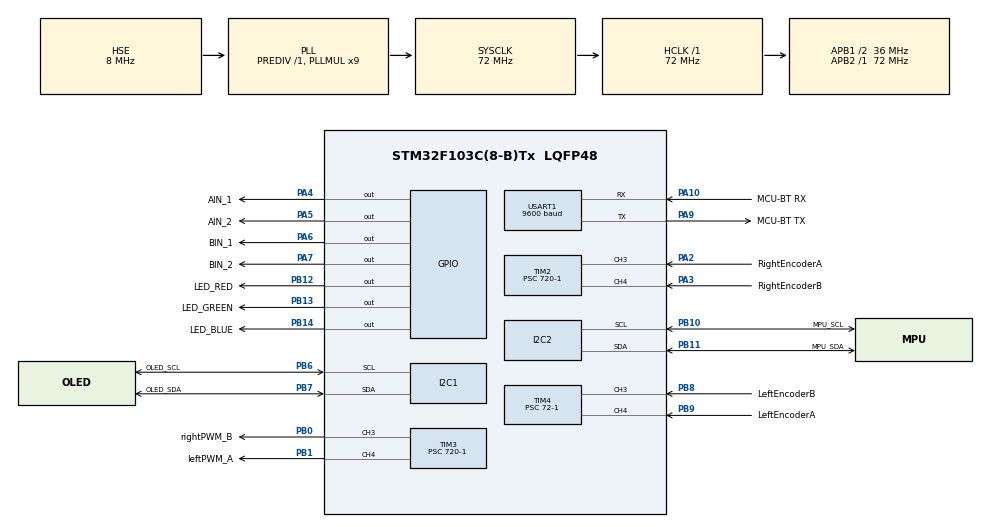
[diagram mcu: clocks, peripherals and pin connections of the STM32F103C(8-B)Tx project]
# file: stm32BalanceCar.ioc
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Dma.Request0=USART1_RX
Dma.Request1=USART1_TX
Dma.USART1_RX.0.Direction=DMA_PERIPH_TO_MEMORY
Dma.USART1_RX.0.Instance=DMA1_Channel5
Dma.USART1_RX.0.MemDataAlignment=DMA_MDATAALIGN_BYTE
Dma.USART1_RX.0.MemInc=DMA_MINC_ENABLE
Dma.USART1_RX.0.Mode=DMA_NORMAL
Dma.USART1_RX.0.PeriphDataAlignment=DMA_PDATAALIGN_BYTE
Dma.USART1_RX.0.PeriphInc=DMA_PINC_DISABLE
Dma.USART1_RX.0.Priority=DMA_PRIORITY_LOW
Dma.USART1_TX.1.Direction=DMA_MEMORY_TO_PERIPH
Dma.USART1_TX.1.Instance=DMA1_Channel4
Dma.USART1_TX.1.MemDataAlignment=DMA_MDATAALIGN_BYTE
Dma.USART1_TX.1.MemInc=DMA_MINC_ENABLE
Dma.USART1_TX.1.Mode=DMA_NORMAL
Dma.USART1_TX.1.PeriphDataAlignment=DMA_PDATAALIGN_BYTE
Dma.USART1_TX.1.PeriphInc=DMA_PINC_DISABLE
Dma.USART1_TX.1.Priority=DMA_PRIORITY_LOW
I2C1.I2C_Mode=I2C_Fast
Mcu.Family=STM32F1
Mcu.Name=STM32F103C(8-B)Tx
Mcu.Package=LQFP48
NVIC.DMA1_Channel4_IRQn=true\:0\:0\:false\:false\:true\:false\:true\:true
NVIC.DMA1_Channel5_IRQn=true\:0\:0\:false\:false\:true\:false\:true\:true
NVIC.PriorityGroup=NVIC_PRIORITYGROUP_4
NVIC.TIM1_BRK_IRQn=true\:0\:0\:false\:false\:true\:true\:true\:true
NVIC.TIM1_CC_IRQn=true\:0\:0\:false\:false\:true\:true\:true\:true
NVIC.TIM1_TRG_COM_IRQn=true\:0\:0\:false\:false\:true\:true\:true\:true
NVIC.TIM1_UP_IRQn=true\:0\:0\:false\:false\:true\:true\:true\:true
NVIC.TIM2_IRQn=true\:0\:0\:false\:false\:true\:true\:true\:true
NVIC.TIM3_IRQn=true\:0\:0\:true\:false\:true\:true\:true\:true
NVIC.TIM4_IRQn=true\:0\:0\:false\:false\:true\:true\:true\:true
NVIC.USART1_IRQn=true\:0\:0\:false\:false\:true\:true\:true\:true
PA10.GPIO_Label=MCU-BT RX
PA10.Mode=Asynchronous
PA10.Signal=USART1_RX
PA13.Mode=Serial_Wire
PA13.Signal=SYS_JTMS-SWDIO
PA14.Mode=Serial_Wire
PA14.Signal=SYS_JTCK-SWCLK
PA2.GPIO_Label=RightEncoderA
PA2.GPIO_PuPd=GPIO_PULLDOWN
PA2.Signal=S_TIM2_CH3
PA3.GPIO_Label=RightEncoderB
PA3.GPIO_PuPd=GPIO_PULLDOWN
PA3.Signal=S_TIM2_CH4
PA4.GPIO_Label=AIN_1
PA4.GPIO_PuPd=GPIO_PULLDOWN
PA4.GPIO_Speed=GPIO_SPEED_FREQ_HIGH
PA4.Signal=GPIO_Output
PA5.GPIO_Label=AIN_2
PA5.GPIO_PuPd=GPIO_PULLDOWN
PA5.GPIO_Speed=GPIO_SPEED_FREQ_HIGH
PA5.Signal=GPIO_Output
PA6.GPIO_Label=BIN_1
PA6.GPIO_PuPd=GPIO_PULLDOWN
PA6.GPIO_Speed=GPIO_SPEED_FREQ_HIGH
PA6.Signal=GPIO_Output
PA7.GPIO_Label=BIN_2
PA7.GPIO_PuPd=GPIO_PULLDOWN
PA7.GPIO_Speed=GPIO_SPEED_FREQ_HIGH
PA7.Signal=GPIO_Output
PA9.GPIO_Label=MCU-BT TX
PA9.Mode=Asynchronous
PA9.Signal=USART1_TX
PB0.GPIO_Label=rightPWM_B
PB0.GPIO_Speed=GPIO_SPEED_FREQ_HIGH
PB0.Signal=S_TIM3_CH3
PB1.GPIO_Label=leftPWM_A
PB1.GPIO_Speed=GPIO_SPEED_FREQ_HIGH
PB1.Signal=S_TIM3_CH4
PB10.GPIO_Label=MPU_SCL
PB10.Mode=I2C
PB10.Signal=I2C2_SCL
PB11.GPIO_Label=MPU_SDA
PB11.Mode=I2C
PB11.Signal=I2C2_SDA
PB12.GPIO_Label=LED_RED
PB12.GPIO_PuPd=GPIO_PULLDOWN
PB12.Signal=GPIO_Output
PB13.GPIO_Label=LED_GREEN
PB13.GPIO_PuPd=GPIO_PULLDOWN
PB13.Signal=GPIO_Output
PB14.GPIO_Label=LED_BLUE
PB14.GPIO_PuPd=GPIO_PULLDOWN
PB14.Signal=GPIO_Output
PB6.GPIO_Label=OLED_SCL
PB6.Mode=I2C
PB6.Signal=I2C1_SCL
PB7.GPIO_Label=OLED_SDA
PB7.Mode=I2C
PB7.Signal=I2C1_SDA
PB8.GPIO_Label=LeftEncoderB
PB8.GPIO_PuPd=GPIO_PULLDOWN
PB8.Signal=S_TIM4_CH3
PB9.GPIO_Label=LeftEncoderA
PB9.GPIO_PuPd=GPIO_PULLDOWN
PB9.Signal=S_TIM4_CH4
PC14-OSC32_IN.Mode=LSE-External-Oscillator
PC14-OSC32_IN.Signal=RCC_OSC32_IN
PC15-OSC32_OUT.Mode=LSE-External-Oscillator
PC15-OSC32_OUT.Signal=RCC_OSC32_OUT
PD0-OSC_IN.Mode=HSE-External-Oscillator
PD0-OSC_IN.Signal=RCC_OSC_IN
PD1-OSC_OUT.Mode=HSE-External-Oscillator
PD1-OSC_OUT.Signal=RCC_OSC_OUT
ProjectManager.HeapSize=0x200
ProjectManager.StackSize=0x400
ProjectManager.TargetToolchain=MDK-ARM V5.32
RCC.AHBFreq_Value=72000000
RCC.APB1CLKDivider=RCC_HCLK_DIV2
RCC.APB1Freq_Value=36000000
RCC.APB1TimFreq_Value=72000000
RCC.APB2Freq_Value=72000000
RCC.APB2TimFreq_Value=72000000
RCC.HCLKFreq_Value=72000000
RCC.PLLMUL=RCC_PLL_MUL9
RCC.PLLSourceVirtual=RCC_PLLSOURCE_HSE
RCC.SYSCLKFreq_VALUE=72000000
RCC.SYSCLKSource=RCC_SYSCLKSOURCE_PLLCLK
RCC.USBFreq_Value=72000000
SH.S_TIM2_CH3.0=TIM2_CH3,Input_Capture3_from_TI3
SH.S_TIM2_CH4.0=TIM2_CH4,Input_Capture4_from_TI4
SH.S_TIM3_CH3.0=TIM3_CH3,PWM Generation3 CH3
SH.S_TIM3_CH4.0=TIM3_CH4,PWM Generation4 CH4
SH.S_TIM4_CH3.0=TIM4_CH3,Input_Capture3_from_TI3
SH.S_TIM4_CH4.0=TIM4_CH4,Input_Capture4_from_TI4
TIM1.AutoReloadPreload=TIM_AUTORELOAD_PRELOAD_ENABLE
TIM1.Period=1000-1
TIM1.Prescaler=720-1
TIM2.AutoReloadPreload=TIM_AUTORELOAD_PRELOAD_ENABLE
TIM2.Channel-Input_Capture3_from_TI3=TIM_CHANNEL_3
TIM2.Channel-Input_Capture4_from_TI4=TIM_CHANNEL_4
TIM2.ICFilter_CH3=8
TIM2.ICFilter_CH4=8
TIM2.Period=1000-1
TIM2.Prescaler=720-1
TIM2.TIM_MasterOutputTrigger=TIM_TRGO_UPDATE
TIM3.AutoReloadPreload=TIM_AUTORELOAD_PRELOAD_ENABLE
TIM3.Channel-PWM\ Generation3\ CH3=TIM_CHANNEL_3
TIM3.Channel-PWM\ Generation4\ CH4=TIM_CHANNEL_4
TIM3.Period=1000-1
TIM3.Prescaler=720-1
TIM4.AutoReloadPreload=TIM_AUTORELOAD_PRELOAD_ENABLE
TIM4.Channel-Input_Capture3_from_TI3=TIM_CHANNEL_3
TIM4.Channel-Input_Capture4_from_TI4=TIM_CHANNEL_4
TIM4.ICFilter_CH3=8
TIM4.ICFilter_CH4=8
TIM4.Period=1000-1
TIM4.Prescaler=72-1
USART1.BaudRate=9600
USART1.VirtualMode=VM_ASYNC
VP_TIM1_VS_ClockSourceINT.Mode=Internal
VP_TIM2_VS_ClockSourceINT.Mode=Internal
board=custom

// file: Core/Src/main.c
/* USER CODE BEGIN Header */
/**
  ******************************************************************************
  * @file           : main.c
  * @brief          : Main program body
  ******************************************************************************
  * @attention
  *
  * Copyright (c) 2024 STMicroelectronics.
  * All rights reserved.
  *
  * This software is licensed under terms that can be found in the LICENSE file
  * in the root directory of this software component.
  * If no LICENSE file comes with this software, it is provided AS-IS.
  *
  ******************************************************************************
  */
/* USER CODE END Header */
#include "main.h"
#include "dma.h"
#include "i2c.h"
#include "tim.h"
#include "usart.h"
#include "gpio.h"

/* USER CODE BEGIN Includes */
#include "motor.h"
#include "MPU6050.h"
#include "oled.h"
#include "stdio.h"
#include "Encoder.h"
#include "delay.h"
#include "inv_mpu.h"
#include "inv_mpu_dmp_motion_driver.h"
/* USER CODE END Includes */

/* USER CODE BEGIN PV */
uint8_t reciveData[50];

/* USER CODE END PV */

void SystemClock_Config(void);

int main(void)
{

  /* MCU Configuration--------------------------------------------------------*/

  /* Reset of all peripherals, Initializes the Flash interface and the Systick. */
  HAL_Init();

  /* Configure the system clock */
  SystemClock_Config();

  /* Initialize all configured peripherals */
  MX_GPIO_Init();
  MX_DMA_Init();
  MX_I2C2_Init();
  MX_TIM3_Init();
  MX_USART1_UART_Init();
  MX_I2C1_Init();
  MX_TIM2_Init();
  MX_TIM4_Init();
  MX_TIM1_Init();
  /* USER CODE BEGIN 2 */
  HAL_Delay(200);
  OLED_Init();

  HAL_UARTEx_ReceiveToIdle_DMA(&huart1,reciveData,sizeof(reciveData));
  __HAL_DMA_DISABLE_IT(&hdma_usart1_rx,DMA_IT_HT);

  MyMPU_Init();
  HAL_TIM_Base_Start_IT(&htim1);
  /* USER CODE END 2 */

  /* Infinite loop */
  while (1)
  {

    /* USER CODE BEGIN 3 */
    //CapturePulseNods();
    if(mpu_dmp_get_data(&Pitch,&Roll,&Yaw)==0)
    {
      temp=MPU_Get_Temperature();								//得到温度�?
      MPU_Get_Accelerometer(&aacx,&aacy,&aacz);	//得到加�?�度传感器数�?
      MPU_Get_Gyroscope(&gyrox,&gyroy,&gyroz);	//得到�?螺仪数据
      sprintf(Pitch_out, "%.2f", Pitch);
      sprintf(Roll_out, "%.2f", Roll);
      sprintf(Yaw_out, "%.2f", Yaw);

    }
    OLED_NewFrame();
    OLED_PrintLabeledASCIIString(1, 1, "speed:",speed_out, &afont12x6, OLED_COLOR_NORMAL);
		OLED_PrintLabeledASCIIString(1,11,"Pitch:",Pitch_out,&afont12x6,OLED_COLOR_NORMAL);
		OLED_PrintLabeledASCIIString(1,21,"Roll:",Roll_out,&afont12x6,OLED_COLOR_NORMAL);
		OLED_PrintLabeledASCIIString(1,31,"Yaw:",Yaw_out,&afont12x6,OLED_COLOR_NORMAL);
    OLED_ShowFrame();

  }
  /* USER CODE END 3 */
}

void SystemClock_Config(void)
{
  RCC_OscInitTypeDef RCC_OscInitStruct = {0};
  RCC_ClkInitTypeDef RCC_ClkInitStruct = {0};

  /** Initializes the RCC Oscillators according to the specified parameters
  * in the RCC_OscInitTypeDef structure.
  */
  RCC_OscInitStruct.OscillatorType = RCC_OSCILLATORTYPE_HSE;
  RCC_OscInitStruct.HSEState = RCC_HSE_ON;
  RCC_OscInitStruct.HSEPredivValue = RCC_HSE_PREDIV_DIV1;
  RCC_OscInitStruct.HSIState = RCC_HSI_ON;
  RCC_OscInitStruct.PLL.PLLState = RCC_PLL_ON;
  RCC_OscInitStruct.PLL.PLLSource = RCC_PLLSOURCE_HSE;
  RCC_OscInitStruct.PLL.PLLMUL = RCC_PLL_MUL9;
  if (HAL_RCC_OscConfig(&RCC_OscInitStruct) != HAL_OK)
  {
    Error_Handler();
  }

  /** Initializes the CPU, AHB and APB buses clocks
  */
  RCC_ClkInitStruct.ClockType = RCC_CLOCKTYPE_HCLK|RCC_CLOCKTYPE_SYSCLK
                              |RCC_CLOCKTYPE_PCLK1|RCC_CLOCKTYPE_PCLK2;
  RCC_ClkInitStruct.SYSCLKSource = RCC_SYSCLKSOURCE_PLLCLK;
  RCC_ClkInitStruct.AHBCLKDivider = RCC_SYSCLK_DIV1;
  RCC_ClkInitStruct.APB1CLKDivider = RCC_HCLK_DIV2;
  RCC_ClkInitStruct.APB2CLKDivider = RCC_HCLK_DIV1;

  if (HAL_RCC_ClockConfig(&RCC_ClkInitStruct, FLASH_LATENCY_2) != HAL_OK)
  {
    Error_Handler();
  }
}

/* USER CODE BEGIN 4 */
void HAL_UARTEx_RxEventCallback(UART_HandleTypeDef *huart,uint16_t Size)
{
  if(huart==&huart1)
  {
    HAL_UART_Transmit_DMA(&huart1,reciveData,Size);

    if(reciveData[0]==0xAA)
    {
      if(reciveData[1]==Size)
      {
        uint8_t sum=0;
        for(int i=0;i<Size-1;i++)
        {
          sum+=reciveData[i];
        }
        if(sum==reciveData[Size-1])
        {
          for(int i=2;i<Size-1;i++)
          {

            if(reciveData[i]==0x01)//姝ｈ�???
            {
              moveForward();
              controlSpeed(30);
            }
            else if(reciveData[i]==0x02)//宸﹁疆鍙嶈浆
            {
              HAL_GPIO_WritePin(AIN_1_GPIO_Port,AIN_1_Pin,GPIO_PIN_RESET);
              HAL_GPIO_WritePin(AIN_2_GPIO_Port,AIN_2_Pin,GPIO_PIN_SET);
            }
            else if(reciveData[i]==0x03)//鍋滄�???
            {
              HAL_GPIO_WritePin(AIN_1_GPIO_Port,AIN_1_Pin,GPIO_PIN_RESET);
              HAL_GPIO_WritePin(AIN_2_GPIO_Port,AIN_2_Pin,GPIO_PIN_RESET);

            }
          }
        }
      }
    }

    HAL_UARTEx_ReceiveToIdle_DMA(&huart1,reciveData,sizeof(reciveData));
  __HAL_DMA_DISABLE_IT(&hdma_usart1_rx,DMA_IT_HT);

  }
}

/* USER CODE END 4 */

void Error_Handler(void)
{
  __disable_irq();
  while (1)
  {
  }
}
